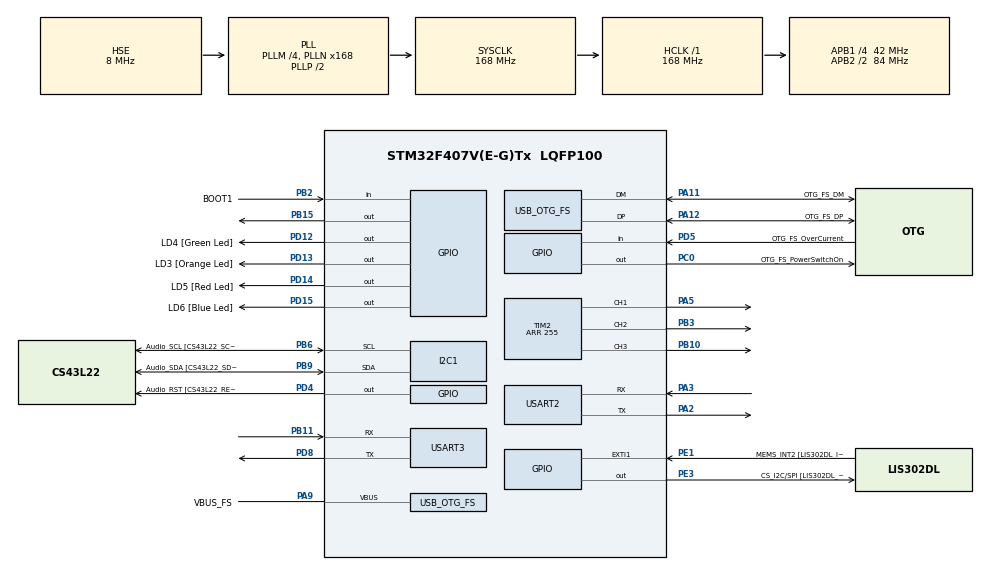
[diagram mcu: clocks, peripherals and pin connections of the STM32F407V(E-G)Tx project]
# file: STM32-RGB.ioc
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Mcu.Family=STM32F4
Mcu.Name=STM32F407V(E-G)Tx
Mcu.Package=LQFP100
NVIC.OTG_FS_IRQn=true\:0\:0\:false\:false\:true\:true\:true\:true
NVIC.PriorityGroup=NVIC_PRIORITYGROUP_0
NVIC.USART2_IRQn=true\:0\:0\:false\:false\:true\:true\:true\:true
PA10.GPIO_Label=OTG_FS_ID
PA10.GPIO_Mode=GPIO_MODE_AF_PP
PA10.GPIO_PuPd=GPIO_NOPULL
PA10.GPIO_Speed=GPIO_SPEED_FREQ_LOW
PA10.Signal=USB_OTG_FS_ID
PA11.GPIO_Label=OTG_FS_DM
PA11.GPIO_Mode=GPIO_MODE_AF_PP
PA11.GPIO_PuPd=GPIO_NOPULL
PA11.GPIO_Speed=GPIO_SPEED_FREQ_LOW
PA11.Mode=Host_Only
PA11.Signal=USB_OTG_FS_DM
PA12.GPIO_Label=OTG_FS_DP
PA12.GPIO_Mode=GPIO_MODE_AF_PP
PA12.GPIO_PuPd=GPIO_NOPULL
PA12.GPIO_Speed=GPIO_SPEED_FREQ_LOW
PA12.Mode=Host_Only
PA12.Signal=USB_OTG_FS_DP
PA13.GPIO_Label=SWDIO
PA13.Mode=Serial_Wire
PA13.Signal=SYS_JTMS-SWDIO
PA14.GPIO_Label=SWCLK
PA14.Mode=Serial_Wire
PA14.Signal=SYS_JTCK-SWCLK
PA2.Mode=Asynchronous
PA2.Signal=USART2_TX
PA3.Mode=Asynchronous
PA3.Signal=USART2_RX
PA4.GPIO_Label=I2S3_WS [CS43L22_LRCK]
PA4.GPIO_Mode=GPIO_MODE_AF_PP
PA4.GPIO_PuPd=GPIO_NOPULL
PA4.GPIO_Speed=GPIO_SPEED_FREQ_LOW
PA4.Signal=I2S3_WS
PA5.Signal=S_TIM2_CH1_ETR
PA6.GPIO_Label=SPI1_MISO [LIS302DL_SDO]
PA6.GPIO_Mode=GPIO_MODE_AF_PP
PA6.GPIO_PuPd=GPIO_NOPULL
PA6.GPIO_Speed=GPIO_SPEED_FREQ_LOW
PA6.Signal=SPI1_MISO
PA7.GPIO_Label=SPI1_MOSI [LIS302DL_SDA/SDI/SDO]
PA7.GPIO_Mode=GPIO_MODE_AF_PP
PA7.GPIO_PuPd=GPIO_NOPULL
PA7.GPIO_Speed=GPIO_SPEED_FREQ_LOW
PA7.Signal=SPI1_MOSI
PA9.GPIO_Label=VBUS_FS
PA9.GPIO_Mode=GPIO_MODE_INPUT
PA9.GPIO_PuPd=GPIO_NOPULL
PA9.Mode=Activate_VBUS
PA9.Signal=USB_OTG_FS_VBUS
PB10.Signal=S_TIM2_CH3
PB11.Mode=Asynchronous
PB11.Signal=USART3_RX
PB15.Signal=GPIO_Output
PB2.GPIO_Label=BOOT1
PB2.GPIO_Mode=GPIO_MODE_INPUT
PB2.GPIO_PuPd=GPIO_NOPULL
PB2.Signal=GPIO_Input
PB3.Signal=S_TIM2_CH2
PB6.GPIO_Label=Audio_SCL [CS43L22_SCL]
PB6.GPIO_Mode=GPIO_MODE_AF_OD
PB6.GPIO_Pu=GPIO_PULLUP
PB6.GPIO_PuPd=GPIO_NOPULL
PB6.GPIO_Speed=GPIO_SPEED_FREQ_LOW
PB6.Mode=I2C
PB6.Signal=I2C1_SCL
PB9.GPIO_Label=Audio_SDA [CS43L22_SDA]
PB9.GPIO_Mode=GPIO_MODE_AF_OD
PB9.GPIO_Pu=GPIO_PULLUP
PB9.GPIO_PuPd=GPIO_NOPULL
PB9.GPIO_Speed=GPIO_SPEED_FREQ_LOW
PB9.Mode=I2C
PB9.Signal=I2C1_SDA
PC0.GPIO_Label=OTG_FS_PowerSwitchOn
PC0.GPIO_PuPd=GPIO_NOPULL
PC0.GPIO_Speed=GPIO_SPEED_FREQ_LOW
PC0.PinState=GPIO_PIN_SET
PC0.Signal=GPIO_Output
PC10.GPIO_Label=I2S3_SCK [CS43L22_SCLK]
PC10.GPIO_Mode=GPIO_MODE_AF_PP
PC10.GPIO_PuPd=GPIO_NOPULL
PC10.GPIO_Speed=GPIO_SPEED_FREQ_LOW
PC10.Signal=I2S3_CK
PC12.GPIO_Label=I2S3_SD [CS43L22_SDIN]
PC12.GPIO_Mode=GPIO_MODE_AF_PP
PC12.GPIO_PuPd=GPIO_NOPULL
PC12.GPIO_Speed=GPIO_SPEED_FREQ_LOW
PC12.Signal=I2S3_SD
PC14-OSC32_IN.GPIO_Label=PC14-OSC32_IN
PC14-OSC32_IN.Mode=LSE-External-Oscillator
PC14-OSC32_IN.Signal=RCC_OSC32_IN
PC15-OSC32_OUT.GPIO_Label=PC15-OSC32_OUT
PC15-OSC32_OUT.Mode=LSE-External-Oscillator
PC15-OSC32_OUT.Signal=RCC_OSC32_OUT
PC3.GPIO_Label=PDM_OUT [MP45DT02_DOUT]
PC3.GPIO_Mode=GPIO_MODE_AF_PP
PC3.GPIO_PuPd=GPIO_NOPULL
PC3.GPIO_Speed=GPIO_SPEED_FREQ_LOW
PC3.Signal=I2S2_SD
PC7.GPIO_Label=I2S3_MCK [CS43L22_MCLK]
PC7.GPIO_Mode=GPIO_MODE_AF_PP
PC7.GPIO_PuPd=GPIO_NOPULL
PC7.GPIO_Speed=GPIO_SPEED_FREQ_LOW
PC7.Signal=I2S3_MCK
PD12.GPIO_Label=LD4 [Green Led]
PD12.GPIO_PuPd=GPIO_NOPULL
PD12.GPIO_Speed=GPIO_SPEED_FREQ_LOW
PD12.Signal=GPIO_Output
PD13.GPIO_Label=LD3 [Orange Led]
PD13.GPIO_PuPd=GPIO_NOPULL
PD13.GPIO_Speed=GPIO_SPEED_FREQ_LOW
PD13.Signal=GPIO_Output
PD14.GPIO_Label=LD5 [Red Led]
PD14.GPIO_PuPd=GPIO_NOPULL
PD14.GPIO_Speed=GPIO_SPEED_FREQ_LOW
PD14.Signal=GPIO_Output
PD15.GPIO_Label=LD6 [Blue Led]
PD15.GPIO_PuPd=GPIO_NOPULL
PD15.GPIO_Speed=GPIO_SPEED_FREQ_LOW
PD15.Signal=GPIO_Output
PD4.GPIO_Label=Audio_RST [CS43L22_RESET]
PD4.GPIO_PuPd=GPIO_NOPULL
PD4.GPIO_Speed=GPIO_SPEED_FREQ_LOW
PD4.Signal=GPIO_Output
PD5.GPIO_Label=OTG_FS_OverCurrent
PD5.GPIO_Mode=GPIO_MODE_INPUT
PD5.GPIO_PuPd=GPIO_NOPULL
PD5.Signal=GPIO_Input
PD8.Mode=Asynchronous
PD8.Signal=USART3_TX
PE1.GPIO_Label=MEMS_INT2 [LIS302DL_INT2]
PE1.GPIO_ModeDefaultEXTI=GPIO_MODE_EVT_RISING
PE1.GPIO_PuPd=GPIO_NOPULL
PE1.Signal=GPXTI1
PE3.GPIO_Label=CS_I2C/SPI [LIS302DL_CS_I2C/SPI]
PE3.GPIO_PuPd=GPIO_NOPULL
PE3.GPIO_Speed=GPIO_SPEED_FREQ_LOW
PE3.Signal=GPIO_Output
PH0-OSC_IN.GPIO_Label=PH0-OSC_IN
PH0-OSC_IN.Mode=HSE-External-Oscillator
PH0-OSC_IN.Signal=RCC_OSC_IN
PH1-OSC_OUT.GPIO_Label=PH1-OSC_OUT
PH1-OSC_OUT.Mode=HSE-External-Oscillator
PH1-OSC_OUT.Signal=RCC_OSC_OUT
ProjectManager.HeapSize=0x200
ProjectManager.StackSize=0x400
ProjectManager.TargetToolchain=STM32CubeIDE
RCC.48MHZClocksFreq_Value=48000000
RCC.AHBFreq_Value=168000000
RCC.APB1CLKDivider=RCC_HCLK_DIV4
RCC.APB1Freq_Value=42000000
RCC.APB1TimFreq_Value=84000000
RCC.APB2CLKDivider=RCC_HCLK_DIV2
RCC.APB2Freq_Value=84000000
RCC.APB2TimFreq_Value=168000000
RCC.CortexFreq_Value=168000000
RCC.HCLKFreq_Value=168000000
RCC.HSE_VALUE=8000000
RCC.HSI_VALUE=16000000
RCC.PLLI2SN=50
RCC.PLLM=4
RCC.PLLN=168
RCC.PLLQ=7
RCC.SYSCLKFreq_VALUE=168000000
RCC.SYSCLKSource=RCC_SYSCLKSOURCE_PLLCLK
RCC.VCOOutputFreq_Value=336000000
SH.S_TIM2_CH1_ETR.0=TIM2_CH1,PWM Generation1 CH1
SH.S_TIM2_CH2.0=TIM2_CH2,PWM Generation2 CH2
SH.S_TIM2_CH3.0=TIM2_CH3,PWM Generation3 CH3
TIM2.Channel-PWM\ Generation1\ CH1=TIM_CHANNEL_1
TIM2.Channel-PWM\ Generation2\ CH2=TIM_CHANNEL_2
TIM2.Channel-PWM\ Generation3\ CH3=TIM_CHANNEL_3
TIM2.Period=255
USART2.VirtualMode=VM_ASYNC
USART3.VirtualMode=VM_ASYNC
USB_HOST.BSP.number=1
USB_HOST.USBH_HandleTypeDef-CDC_FS=hUsbHostFS
USB_HOST.VirtualModeFS=Cdc
USB_HOST0.BSP.STBoard=false
USB_HOST0.BSP.api=Unknown
USB_HOST0.BSP.instance=PC0
USB_HOST0.BSP.ip=GPIO
USB_HOST0.BSP.mode=Output
USB_HOST0.BSP.name=Drive_VBUS_FS
USB_HOST0.BSP.solution=PC0
USB_OTG_FS.VirtualMode=Host_Only
USB_OTG_FS.phy_itface=HCD_PHY_EMBEDDED
VP_USB_HOST_VS_USB_HOST_CDC_FS.Mode=CDC_FS
board=STM32F407G-DISC1

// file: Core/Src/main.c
/* USER CODE BEGIN Header */
/**
 ******************************************************************************
 * @file           : main.c
 * @brief          : Main program body
 ******************************************************************************
 * @attention
 *
 * Copyright (c) 2025 STMicroelectronics.
 * All rights reserved.
 *
 * This software is licensed under terms that can be found in the LICENSE file
 * in the root directory of this software component.
 * If no LICENSE file comes with this software, it is provided AS-IS.
 *
 ******************************************************************************
 */
/* USER CODE END Header */
#include "main.h"
#include "usb_host.h"

/* USER CODE BEGIN Includes */
#include <stdio.h>
#include <string.h>
#include "i2c-lcd.h"

/* USER CODE END Includes */

I2C_HandleTypeDef hi2c1;

TIM_HandleTypeDef htim2;

UART_HandleTypeDef huart2;
UART_HandleTypeDef huart3;

void SystemClock_Config(void);
static void MX_GPIO_Init(void);
static void MX_I2C1_Init(void);
static void MX_TIM2_Init(void);
static void MX_USART3_UART_Init(void);
static void MX_USART2_UART_Init(void);
void MX_USB_HOST_Process(void);

/* USER CODE BEGIN 0 */
#define MAX_MSG_LEN 16
#define MSG_QUEUE_LEN 8

char msgQueue[MSG_QUEUE_LEN][MAX_MSG_LEN];
volatile uint8_t msgHead = 0;
volatile uint8_t msgTail = 0;

uint8_t rxByte;
static char tempMsg[MAX_MSG_LEN];
static uint8_t tempIndex = 0;

char *rgbStr = "";
uint8_t isReset = 0;

uint32_t lastBuzzerdSoundTime = 0;

void setLedPWM(uint8_t r, uint8_t g, uint8_t b) {
	if (r <= 255 && g <= 255 && b <= 255) {
		__HAL_TIM_SET_COMPARE(&htim2, TIM_CHANNEL_1, r);
		__HAL_TIM_SET_COMPARE(&htim2, TIM_CHANNEL_2, g);
		__HAL_TIM_SET_COMPARE(&htim2, TIM_CHANNEL_3, b);
	}
}

void resetLedPWM() {
	__HAL_TIM_SET_COMPARE(&htim2, TIM_CHANNEL_1, 0);
	__HAL_TIM_SET_COMPARE(&htim2, TIM_CHANNEL_2, 0);
	__HAL_TIM_SET_COMPARE(&htim2, TIM_CHANNEL_3, 0);
	lcd_clear();
	lcd_put_cur(0, 0);
	lcd_send_string("RGB: 0 0 0");
	lcd_put_cur(1, 0);
	lcd_send_string("HEX: #000000");
}

void setRgbTextLCD(char *rgbMsg, uint8_t r, uint8_t g, uint8_t b) {
	char rgbStr[17];
	lcd_clear();
	lcd_put_cur(0, 0);
	snprintf(rgbStr, sizeof(rgbStr), "RGB: %u %u %u", r, g, b);
	lcd_send_string(rgbStr);

	char hexRgbStr[16];
	lcd_put_cur(1, 0);
	snprintf(hexRgbStr, sizeof(hexRgbStr), "HEX: #%02X%02X%02X", r, g, b);
	lcd_send_string(hexRgbStr);
}

// Serial messages & responses
void HAL_UART_RxCpltCallback(UART_HandleTypeDef *huart) {
	if (huart->Instance == USART2) {
		if (rxByte != '\n' && tempIndex < MAX_MSG_LEN - 1) {
			tempMsg[tempIndex++] = rxByte;
		} else {
			tempMsg[tempIndex] = '\0';
			tempIndex = 0;
			uint8_t nextHead = (msgHead + 1) % MSG_QUEUE_LEN;
			if (nextHead != msgTail) {
				strcpy(msgQueue[msgHead], tempMsg);
				msgHead = nextHead;
			}
		}
		HAL_UART_Receive_IT(&huart2, &rxByte, 1);
	}
}

/* USER CODE END 0 */

int main(void) {

	/* MCU Configuration--------------------------------------------------------*/

	/* Reset of all peripherals, Initializes the Flash interface and the Systick. */
	HAL_Init();

	/* Configure the system clock */
	SystemClock_Config();

	/* Initialize all configured peripherals */
	MX_GPIO_Init();
	MX_I2C1_Init();
	MX_USB_HOST_Init();
	MX_TIM2_Init();
	MX_USART3_UART_Init();
	MX_USART2_UART_Init();
	/* USER CODE BEGIN 2 */
	HAL_TIM_PWM_Start(&htim2, TIM_CHANNEL_1);
	HAL_TIM_PWM_Start(&htim2, TIM_CHANNEL_2);
	HAL_TIM_PWM_Start(&htim2, TIM_CHANNEL_3);

	HAL_UART_Receive_IT(&huart2, &rxByte, 1);
	lcd_init();
	lcd_clear();
	lcd_put_cur(0, 0);
	lcd_send_string("RGB: 0 0 0");
	lcd_put_cur(1, 0);
	lcd_send_string("HEX: #000000");

	/* USER CODE END 2 */

	/* Infinite loop */
	while (1) {
		MX_USB_HOST_Process();

		/* USER CODE BEGIN 3 */

		if (msgHead != msgTail) {
			char *msg = msgQueue[msgTail];
			msgTail = (msgTail + 1) % MSG_QUEUE_LEN;

			if (msg[0] == 'S') {
				unsigned int r_i, g_i, b_i;
				if (sscanf(&msg[2], "%u %u %u", &r_i, &g_i, &b_i) == 3) {
					uint8_t r = (uint8_t) r_i;
					uint8_t g = (uint8_t) g_i;
					uint8_t b = (uint8_t) b_i;
					setLedPWM(r, g, b);
					setRgbTextLCD(&msg[2], r_i, g_i, b_i);
				}
			} else if (msg[0] == 'R') {
				resetLedPWM();

				if ((HAL_GetTick() - lastBuzzerdSoundTime) > 500) {
					lastBuzzerdSoundTime = HAL_GetTick();
					HAL_GPIO_WritePin(GPIOB, GPIO_PIN_15, GPIO_PIN_SET);
					HAL_Delay(100);
					HAL_GPIO_WritePin(GPIOB, GPIO_PIN_15, GPIO_PIN_RESET);
				}
			} else {
				lcd_clear();
				lcd_put_cur(0, 0);
				lcd_send_string("Invalid");
				lcd_put_cur(1, 0);
				lcd_send_string("command");
			}
		}
	}
	/* USER CODE END 3 */
}

void SystemClock_Config(void) {
	RCC_OscInitTypeDef RCC_OscInitStruct = { 0 };
	RCC_ClkInitTypeDef RCC_ClkInitStruct = { 0 };

	/** Configure the main internal regulator output voltage
	 */
	__HAL_RCC_PWR_CLK_ENABLE();
	__HAL_PWR_VOLTAGESCALING_CONFIG(PWR_REGULATOR_VOLTAGE_SCALE1);

	/** Initializes the RCC Oscillators according to the specified parameters
	 * in the RCC_OscInitTypeDef structure.
	 */
	RCC_OscInitStruct.OscillatorType = RCC_OSCILLATORTYPE_HSE;
	RCC_OscInitStruct.HSEState = RCC_HSE_ON;
	RCC_OscInitStruct.PLL.PLLState = RCC_PLL_ON;
	RCC_OscInitStruct.PLL.PLLSource = RCC_PLLSOURCE_HSE;
	RCC_OscInitStruct.PLL.PLLM = 4;
	RCC_OscInitStruct.PLL.PLLN = 168;
	RCC_OscInitStruct.PLL.PLLP = RCC_PLLP_DIV2;
	RCC_OscInitStruct.PLL.PLLQ = 7;
	if (HAL_RCC_OscConfig(&RCC_OscInitStruct) != HAL_OK) {
		Error_Handler();
	}

	/** Initializes the CPU, AHB and APB buses clocks
	 */
	RCC_ClkInitStruct.ClockType = RCC_CLOCKTYPE_HCLK | RCC_CLOCKTYPE_SYSCLK
			| RCC_CLOCKTYPE_PCLK1 | RCC_CLOCKTYPE_PCLK2;
	RCC_ClkInitStruct.SYSCLKSource = RCC_SYSCLKSOURCE_PLLCLK;
	RCC_ClkInitStruct.AHBCLKDivider = RCC_SYSCLK_DIV1;
	RCC_ClkInitStruct.APB1CLKDivider = RCC_HCLK_DIV4;
	RCC_ClkInitStruct.APB2CLKDivider = RCC_HCLK_DIV2;

	if (HAL_RCC_ClockConfig(&RCC_ClkInitStruct, FLASH_LATENCY_5) != HAL_OK) {
		Error_Handler();
	}
}

static void MX_I2C1_Init(void) {

	hi2c1.Instance = I2C1;
	hi2c1.Init.ClockSpeed = 100000;
	hi2c1.Init.DutyCycle = I2C_DUTYCYCLE_2;
	hi2c1.Init.OwnAddress1 = 0;
	hi2c1.Init.AddressingMode = I2C_ADDRESSINGMODE_7BIT;
	hi2c1.Init.DualAddressMode = I2C_DUALADDRESS_DISABLE;
	hi2c1.Init.OwnAddress2 = 0;
	hi2c1.Init.GeneralCallMode = I2C_GENERALCALL_DISABLE;
	hi2c1.Init.NoStretchMode = I2C_NOSTRETCH_DISABLE;
	if (HAL_I2C_Init(&hi2c1) != HAL_OK) {
		Error_Handler();
	}

}

static void MX_TIM2_Init(void) {

	TIM_MasterConfigTypeDef sMasterConfig = { 0 };
	TIM_OC_InitTypeDef sConfigOC = { 0 };

	htim2.Instance = TIM2;
	htim2.Init.Prescaler = 0;
	htim2.Init.CounterMode = TIM_COUNTERMODE_UP;
	htim2.Init.Period = 255;
	htim2.Init.ClockDivision = TIM_CLOCKDIVISION_DIV1;
	htim2.Init.AutoReloadPreload = TIM_AUTORELOAD_PRELOAD_DISABLE;
	if (HAL_TIM_PWM_Init(&htim2) != HAL_OK) {
		Error_Handler();
	}
	sMasterConfig.MasterOutputTrigger = TIM_TRGO_RESET;
	sMasterConfig.MasterSlaveMode = TIM_MASTERSLAVEMODE_DISABLE;
	if (HAL_TIMEx_MasterConfigSynchronization(&htim2, &sMasterConfig)
			!= HAL_OK) {
		Error_Handler();
	}
	sConfigOC.OCMode = TIM_OCMODE_PWM1;
	sConfigOC.Pulse = 0;
	sConfigOC.OCPolarity = TIM_OCPOLARITY_HIGH;
	sConfigOC.OCFastMode = TIM_OCFAST_DISABLE;
	if (HAL_TIM_PWM_ConfigChannel(&htim2, &sConfigOC, TIM_CHANNEL_1)
			!= HAL_OK) {
		Error_Handler();
	}
	if (HAL_TIM_PWM_ConfigChannel(&htim2, &sConfigOC, TIM_CHANNEL_2)
			!= HAL_OK) {
		Error_Handler();
	}
	if (HAL_TIM_PWM_ConfigChannel(&htim2, &sConfigOC, TIM_CHANNEL_3)
			!= HAL_OK) {
		Error_Handler();
	}
	HAL_TIM_MspPostInit(&htim2);

}

static void MX_USART2_UART_Init(void) {

	huart2.Instance = USART2;
	huart2.Init.BaudRate = 115200;
	huart2.Init.WordLength = UART_WORDLENGTH_8B;
	huart2.Init.StopBits = UART_STOPBITS_1;
	huart2.Init.Parity = UART_PARITY_NONE;
	huart2.Init.Mode = UART_MODE_TX_RX;
	huart2.Init.HwFlowCtl = UART_HWCONTROL_NONE;
	huart2.Init.OverSampling = UART_OVERSAMPLING_16;
	if (HAL_UART_Init(&huart2) != HAL_OK) {
		Error_Handler();
	}

}

static void MX_USART3_UART_Init(void) {

	huart3.Instance = USART3;
	huart3.Init.BaudRate = 115200;
	huart3.Init.WordLength = UART_WORDLENGTH_8B;
	huart3.Init.StopBits = UART_STOPBITS_1;
	huart3.Init.Parity = UART_PARITY_NONE;
	huart3.Init.Mode = UART_MODE_TX_RX;
	huart3.Init.HwFlowCtl = UART_HWCONTROL_NONE;
	huart3.Init.OverSampling = UART_OVERSAMPLING_16;
	if (HAL_UART_Init(&huart3) != HAL_OK) {
		Error_Handler();
	}

}

static void MX_GPIO_Init(void) {
	GPIO_InitTypeDef GPIO_InitStruct = { 0 };

	/* GPIO Ports Clock Enable */
	__HAL_RCC_GPIOE_CLK_ENABLE();
	__HAL_RCC_GPIOC_CLK_ENABLE();
	__HAL_RCC_GPIOH_CLK_ENABLE();
	__HAL_RCC_GPIOA_CLK_ENABLE();
	__HAL_RCC_GPIOB_CLK_ENABLE();
	__HAL_RCC_GPIOD_CLK_ENABLE();

	/*Configure GPIO pin Output Level */
	HAL_GPIO_WritePin(CS_I2C_SPI_GPIO_Port, CS_I2C_SPI_Pin, GPIO_PIN_RESET);

	/*Configure GPIO pin Output Level */
	HAL_GPIO_WritePin(OTG_FS_PowerSwitchOn_GPIO_Port, OTG_FS_PowerSwitchOn_Pin,
			GPIO_PIN_SET);

	/*Configure GPIO pin Output Level */
	HAL_GPIO_WritePin(GPIOB, GPIO_PIN_15, GPIO_PIN_RESET);

	/*Configure GPIO pin Output Level */
	HAL_GPIO_WritePin(GPIOD,
	LD4_Pin | LD3_Pin | LD5_Pin | LD6_Pin | Audio_RST_Pin, GPIO_PIN_RESET);

	/*Configure GPIO pin : CS_I2C_SPI_Pin */
	GPIO_InitStruct.Pin = CS_I2C_SPI_Pin;
	GPIO_InitStruct.Mode = GPIO_MODE_OUTPUT_PP;
	GPIO_InitStruct.Pull = GPIO_NOPULL;
	GPIO_InitStruct.Speed = GPIO_SPEED_FREQ_LOW;
	HAL_GPIO_Init(CS_I2C_SPI_GPIO_Port, &GPIO_InitStruct);

	/*Configure GPIO pin : OTG_FS_PowerSwitchOn_Pin */
	GPIO_InitStruct.Pin = OTG_FS_PowerSwitchOn_Pin;
	GPIO_InitStruct.Mode = GPIO_MODE_OUTPUT_PP;
	GPIO_InitStruct.Pull = GPIO_NOPULL;
	GPIO_InitStruct.Speed = GPIO_SPEED_FREQ_LOW;
	HAL_GPIO_Init(OTG_FS_PowerSwitchOn_GPIO_Port, &GPIO_InitStruct);

	/*Configure GPIO pin : PDM_OUT_Pin */
	GPIO_InitStruct.Pin = PDM_OUT_Pin;
	GPIO_InitStruct.Mode = GPIO_MODE_AF_PP;
	GPIO_InitStruct.Pull = GPIO_NOPULL;
	GPIO_InitStruct.Speed = GPIO_SPEED_FREQ_LOW;
	GPIO_InitStruct.Alternate = GPIO_AF5_SPI2;
	HAL_GPIO_Init(PDM_OUT_GPIO_Port, &GPIO_InitStruct);

	/*Configure GPIO pin : I2S3_WS_Pin */
	GPIO_InitStruct.Pin = I2S3_WS_Pin;
	GPIO_InitStruct.Mode = GPIO_MODE_AF_PP;
	GPIO_InitStruct.Pull = GPIO_NOPULL;
	GPIO_InitStruct.Speed = GPIO_SPEED_FREQ_LOW;
	GPIO_InitStruct.Alternate = GPIO_AF6_SPI3;
	HAL_GPIO_Init(I2S3_WS_GPIO_Port, &GPIO_InitStruct);

	/*Configure GPIO pins : SPI1_MISO_Pin SPI1_MOSI_Pin */
	GPIO_InitStruct.Pin = SPI1_MISO_Pin | SPI1_MOSI_Pin;
	GPIO_InitStruct.Mode = GPIO_MODE_AF_PP;
	GPIO_InitStruct.Pull = GPIO_NOPULL;
	GPIO_InitStruct.Speed = GPIO_SPEED_FREQ_LOW;
	GPIO_InitStruct.Alternate = GPIO_AF5_SPI1;
	HAL_GPIO_Init(GPIOA, &GPIO_InitStruct);

	/*Configure GPIO pin : BOOT1_Pin */
	GPIO_InitStruct.Pin = BOOT1_Pin;
	GPIO_InitStruct.Mode = GPIO_MODE_INPUT;
	GPIO_InitStruct.Pull = GPIO_NOPULL;
	HAL_GPIO_Init(BOOT1_GPIO_Port, &GPIO_InitStruct);

	/*Configure GPIO pin : PB15 */
	GPIO_InitStruct.Pin = GPIO_PIN_15;
	GPIO_InitStruct.Mode = GPIO_MODE_OUTPUT_PP;
	GPIO_InitStruct.Pull = GPIO_NOPULL;
	GPIO_InitStruct.Speed = GPIO_SPEED_FREQ_LOW;
	HAL_GPIO_Init(GPIOB, &GPIO_InitStruct);

	/*Configure GPIO pins : LD4_Pin LD3_Pin LD5_Pin LD6_Pin
	 Audio_RST_Pin */
	GPIO_InitStruct.Pin = LD4_Pin | LD3_Pin | LD5_Pin | LD6_Pin | Audio_RST_Pin;
	GPIO_InitStruct.Mode = GPIO_MODE_OUTPUT_PP;
	GPIO_InitStruct.Pull = GPIO_NOPULL;
	GPIO_InitStruct.Speed = GPIO_SPEED_FREQ_LOW;
	HAL_GPIO_Init(GPIOD, &GPIO_InitStruct);

	/*Configure GPIO pins : I2S3_MCK_Pin I2S3_SCK_Pin I2S3_SD_Pin */
	GPIO_InitStruct.Pin = I2S3_MCK_Pin | I2S3_SCK_Pin | I2S3_SD_Pin;
	GPIO_InitStruct.Mode = GPIO_MODE_AF_PP;
	GPIO_InitStruct.Pull = GPIO_NOPULL;
	GPIO_InitStruct.Speed = GPIO_SPEED_FREQ_LOW;
	GPIO_InitStruct.Alternate = GPIO_AF6_SPI3;
	HAL_GPIO_Init(GPIOC, &GPIO_InitStruct);

	/*Configure GPIO pin : OTG_FS_OverCurrent_Pin */
	GPIO_InitStruct.Pin = OTG_FS_OverCurrent_Pin;
	GPIO_InitStruct.Mode = GPIO_MODE_INPUT;
	GPIO_InitStruct.Pull = GPIO_NOPULL;
	HAL_GPIO_Init(OTG_FS_OverCurrent_GPIO_Port, &GPIO_InitStruct);

	/*Configure GPIO pin : MEMS_INT2_Pin */
	GPIO_InitStruct.Pin = MEMS_INT2_Pin;
	GPIO_InitStruct.Mode = GPIO_MODE_EVT_RISING;
	GPIO_InitStruct.Pull = GPIO_NOPULL;
	HAL_GPIO_Init(MEMS_INT2_GPIO_Port, &GPIO_InitStruct);

}

void Error_Handler(void) {
	__disable_irq();
	while (1) {
	}
}
